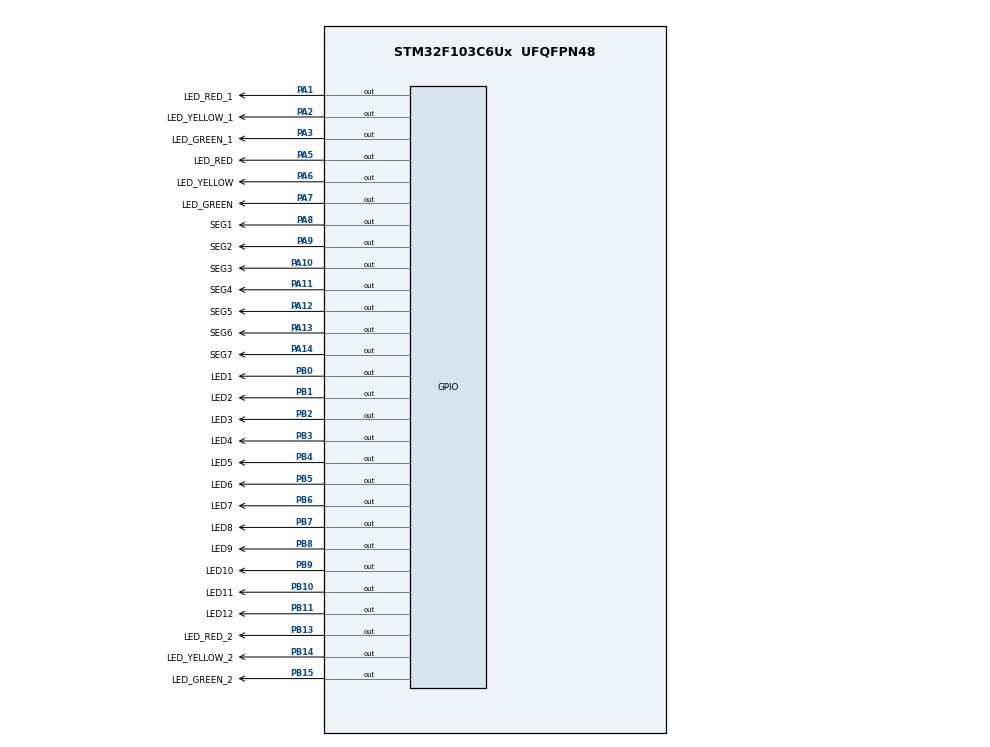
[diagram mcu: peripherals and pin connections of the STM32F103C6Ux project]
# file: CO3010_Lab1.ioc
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Mcu.Family=STM32F1
Mcu.Name=STM32F103C6Ux
Mcu.Package=UFQFPN48
NVIC.PriorityGroup=NVIC_PRIORITYGROUP_4
PA1.GPIO_Label=LED_RED_1
PA1.Signal=GPIO_Output
PA10.GPIO_Label=SEG3
PA10.Signal=GPIO_Output
PA11.GPIO_Label=SEG4
PA11.Signal=GPIO_Output
PA12.GPIO_Label=SEG5
PA12.Signal=GPIO_Output
PA13.GPIO_Label=SEG6
PA13.Signal=GPIO_Output
PA14.GPIO_Label=SEG7
PA14.Signal=GPIO_Output
PA2.GPIO_Label=LED_YELLOW_1
PA2.Signal=GPIO_Output
PA3.GPIO_Label=LED_GREEN_1
PA3.Signal=GPIO_Output
PA5.GPIO_Label=LED_RED
PA5.Signal=GPIO_Output
PA6.GPIO_Label=LED_YELLOW
PA6.Signal=GPIO_Output
PA7.GPIO_Label=LED_GREEN
PA7.Signal=GPIO_Output
PA8.GPIO_Label=SEG1
PA8.Signal=GPIO_Output
PA9.GPIO_Label=SEG2
PA9.Signal=GPIO_Output
PB0.GPIO_Label=LED1
PB0.Signal=GPIO_Output
PB1.GPIO_Label=LED2
PB1.Signal=GPIO_Output
PB10.GPIO_Label=LED11
PB10.Signal=GPIO_Output
PB11.GPIO_Label=LED12
PB11.Signal=GPIO_Output
PB13.GPIO_Label=LED_RED_2
PB13.Signal=GPIO_Output
PB14.GPIO_Label=LED_YELLOW_2
PB14.Signal=GPIO_Output
PB15.GPIO_Label=LED_GREEN_2
PB15.Signal=GPIO_Output
PB2.GPIO_Label=LED3
PB2.Signal=GPIO_Output
PB3.GPIO_Label=LED4
PB3.Signal=GPIO_Output
PB4.GPIO_Label=LED5
PB4.Signal=GPIO_Output
PB5.GPIO_Label=LED6
PB5.Signal=GPIO_Output
PB6.GPIO_Label=LED7
PB6.Signal=GPIO_Output
PB7.GPIO_Label=LED8
PB7.Signal=GPIO_Output
PB8.GPIO_Label=LED9
PB8.Signal=GPIO_Output
PB9.GPIO_Label=LED10
PB9.Signal=GPIO_Output
ProjectManager.HeapSize=0x200
ProjectManager.StackSize=0x400
ProjectManager.TargetToolchain=STM32CubeIDE
RCC.APB1Freq_Value=8000000
RCC.APB2Freq_Value=8000000
board=custom

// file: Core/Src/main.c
/* USER CODE BEGIN Header */
/**
  ******************************************************************************
  * @file           : main.c
  * @brief          : Main program body
  ******************************************************************************
  * @attention
  *
  * Copyright (c) 2025 STMicroelectronics.
  * All rights reserved.
  *
  * This software is licensed under terms that can be found in the LICENSE file
  * in the root directory of this software component.
  * If no LICENSE file comes with this software, it is provided AS-IS.
  *
  ******************************************************************************
  */
/* USER CODE END Header */
#include "main.h"

/* USER CODE BEGIN Includes */
#include "exercise1.h"
#include "exercise2.h"
#include "exercise3.h"
#include "exercise4.h"
#include "exercise5.h"
#include "exercise6.h"
#include "exercise7.h"
#include "exercise8.h"
#include "exercise9.h"
#include "exercise10.h"
/* USER CODE END Includes */

/* USER CODE BEGIN PD */
#define RUN_EXERCISE 10
/* USER CODE END PD */

void SystemClock_Config(void);
static void MX_GPIO_Init(void);

int main(void)
{

  /* MCU Configuration--------------------------------------------------------*/

  /* Reset of all peripherals, Initializes the Flash interface and the Systick. */
  HAL_Init();

  /* Configure the system clock */
  SystemClock_Config();

  /* Initialize all configured peripherals */
  MX_GPIO_Init();

  /* Infinite loop */
  /* USER CODE BEGIN WHILE */
  while (1)
  {
	  if (RUN_EXERCISE == 1) {
		  exercise1_run();
	  }
	  else if (RUN_EXERCISE == 2) {
		  exercise2_run();
	  }
	  else if (RUN_EXERCISE == 3) {
		  exercise3_run();
	  }
	  else if (RUN_EXERCISE == 4) {
		  exercise4_run();
	  }
	  else if (RUN_EXERCISE == 5) {
		  exercise5_run();
	  }
	  else if (RUN_EXERCISE == 6) {
		  exercise6_run();
	  }
	  else if (RUN_EXERCISE == 7) {
		  exercise7_run();
	  }
	  else if (RUN_EXERCISE == 8) {
		  exercise8_run();
	  }
	  else if (RUN_EXERCISE == 9) {
		  exercise9_run();
	  }
	  else if (RUN_EXERCISE == 10) {
		  exercise10_run();
	  }

	  HAL_Delay(1000);
    /* USER CODE END WHILE */

  }
}

void SystemClock_Config(void)
{
  RCC_OscInitTypeDef RCC_OscInitStruct = {0};
  RCC_ClkInitTypeDef RCC_ClkInitStruct = {0};

  /** Initializes the RCC Oscillators according to the specified parameters
  * in the RCC_OscInitTypeDef structure.
  */
  RCC_OscInitStruct.OscillatorType = RCC_OSCILLATORTYPE_HSI;
  RCC_OscInitStruct.HSIState = RCC_HSI_ON;
  RCC_OscInitStruct.HSICalibrationValue = RCC_HSICALIBRATION_DEFAULT;
  RCC_OscInitStruct.PLL.PLLState = RCC_PLL_NONE;
  if (HAL_RCC_OscConfig(&RCC_OscInitStruct) != HAL_OK)
  {
    Error_Handler();
  }

  /** Initializes the CPU, AHB and APB buses clocks
  */
  RCC_ClkInitStruct.ClockType = RCC_CLOCKTYPE_HCLK|RCC_CLOCKTYPE_SYSCLK
                              |RCC_CLOCKTYPE_PCLK1|RCC_CLOCKTYPE_PCLK2;
  RCC_ClkInitStruct.SYSCLKSource = RCC_SYSCLKSOURCE_HSI;
  RCC_ClkInitStruct.AHBCLKDivider = RCC_SYSCLK_DIV1;
  RCC_ClkInitStruct.APB1CLKDivider = RCC_HCLK_DIV1;
  RCC_ClkInitStruct.APB2CLKDivider = RCC_HCLK_DIV1;

  if (HAL_RCC_ClockConfig(&RCC_ClkInitStruct, FLASH_LATENCY_0) != HAL_OK)
  {
    Error_Handler();
  }
}

static void MX_GPIO_Init(void)
{
  GPIO_InitTypeDef GPIO_InitStruct = {0};

  /* GPIO Ports Clock Enable */
  __HAL_RCC_GPIOA_CLK_ENABLE();
  __HAL_RCC_GPIOB_CLK_ENABLE();

  /*Configure GPIO pin Output Level */
  HAL_GPIO_WritePin(GPIOA, LED_RED_1_Pin|LED_YELLOW_1_Pin|LED_GREEN_1_Pin|LED_RED_Pin
                          |LED_YELLOW_Pin|LED_GREEN_Pin|SEG1_Pin|SEG2_Pin
                          |SEG3_Pin|SEG4_Pin|SEG5_Pin|SEG6_Pin
                          |SEG7_Pin, GPIO_PIN_RESET);

  /*Configure GPIO pin Output Level */
  HAL_GPIO_WritePin(GPIOB, LED1_Pin|LED2_Pin|LED3_Pin|LED11_Pin
                          |LED12_Pin|LED_RED_2_Pin|LED_YELLOW_2_Pin|LED_GREEN_2_Pin
                          |LED4_Pin|LED5_Pin|LED6_Pin|LED7_Pin
                          |LED8_Pin|LED9_Pin|LED10_Pin, GPIO_PIN_RESET);

  /*Configure GPIO pins : LED_RED_1_Pin LED_YELLOW_1_Pin LED_GREEN_1_Pin LED_RED_Pin
                           LED_YELLOW_Pin LED_GREEN_Pin SEG1_Pin SEG2_Pin
                           SEG3_Pin SEG4_Pin SEG5_Pin SEG6_Pin
                           SEG7_Pin */
  GPIO_InitStruct.Pin = LED_RED_1_Pin|LED_YELLOW_1_Pin|LED_GREEN_1_Pin|LED_RED_Pin
                          |LED_YELLOW_Pin|LED_GREEN_Pin|SEG1_Pin|SEG2_Pin
                          |SEG3_Pin|SEG4_Pin|SEG5_Pin|SEG6_Pin
                          |SEG7_Pin;
  GPIO_InitStruct.Mode = GPIO_MODE_OUTPUT_PP;
  GPIO_InitStruct.Pull = GPIO_NOPULL;
  GPIO_InitStruct.Speed = GPIO_SPEED_FREQ_LOW;
  HAL_GPIO_Init(GPIOA, &GPIO_InitStruct);

  /*Configure GPIO pins : LED1_Pin LED2_Pin LED3_Pin LED11_Pin
                           LED12_Pin LED_RED_2_Pin LED_YELLOW_2_Pin LED_GREEN_2_Pin
                           LED4_Pin LED5_Pin LED6_Pin LED7_Pin
                           LED8_Pin LED9_Pin LED10_Pin */
  GPIO_InitStruct.Pin = LED1_Pin|LED2_Pin|LED3_Pin|LED11_Pin
                          |LED12_Pin|LED_RED_2_Pin|LED_YELLOW_2_Pin|LED_GREEN_2_Pin
                          |LED4_Pin|LED5_Pin|LED6_Pin|LED7_Pin
                          |LED8_Pin|LED9_Pin|LED10_Pin;
  GPIO_InitStruct.Mode = GPIO_MODE_OUTPUT_PP;
  GPIO_InitStruct.Pull = GPIO_NOPULL;
  GPIO_InitStruct.Speed = GPIO_SPEED_FREQ_LOW;
  HAL_GPIO_Init(GPIOB, &GPIO_InitStruct);

}

void Error_Handler(void)
{
  __disable_irq();
  while (1)
  {
  }
}
